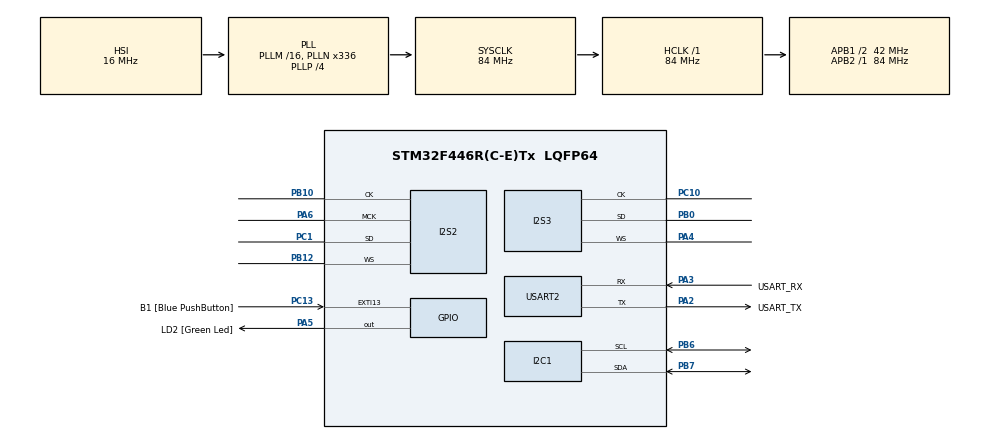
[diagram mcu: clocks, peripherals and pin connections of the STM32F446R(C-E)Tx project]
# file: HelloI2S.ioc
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Dma.Request0=SPI2_TX
Dma.Request1=SPI3_RX
Dma.SPI2_TX.0.Direction=DMA_MEMORY_TO_PERIPH
Dma.SPI2_TX.0.FIFOMode=DMA_FIFOMODE_DISABLE
Dma.SPI2_TX.0.Instance=DMA1_Stream4
Dma.SPI2_TX.0.MemDataAlignment=DMA_MDATAALIGN_HALFWORD
Dma.SPI2_TX.0.MemInc=DMA_MINC_ENABLE
Dma.SPI2_TX.0.Mode=DMA_CIRCULAR
Dma.SPI2_TX.0.PeriphDataAlignment=DMA_PDATAALIGN_HALFWORD
Dma.SPI2_TX.0.PeriphInc=DMA_PINC_DISABLE
Dma.SPI2_TX.0.Priority=DMA_PRIORITY_LOW
Dma.SPI3_RX.1.Direction=DMA_PERIPH_TO_MEMORY
Dma.SPI3_RX.1.FIFOMode=DMA_FIFOMODE_DISABLE
Dma.SPI3_RX.1.Instance=DMA1_Stream0
Dma.SPI3_RX.1.MemDataAlignment=DMA_MDATAALIGN_HALFWORD
Dma.SPI3_RX.1.MemInc=DMA_MINC_ENABLE
Dma.SPI3_RX.1.Mode=DMA_CIRCULAR
Dma.SPI3_RX.1.PeriphDataAlignment=DMA_PDATAALIGN_HALFWORD
Dma.SPI3_RX.1.PeriphInc=DMA_PINC_DISABLE
Dma.SPI3_RX.1.Priority=DMA_PRIORITY_LOW
I2S2.AudioFreq=I2S_AUDIOFREQ_48K
I2S2.DataFormat=I2S_DATAFORMAT_24B
I2S2.ErrorAudioFreq=-2.34 %
I2S2.FullDuplexMode=I2S_FULLDUPLEXMODE_DISABLE
I2S2.Instance=SPI$Index
I2S2.RealAudioFreq=46.875 KHz
I2S2.VirtualMode=I2S_MODE_MASTER
I2S3.AudioFreq=I2S_AUDIOFREQ_48K
I2S3.DataFormat=I2S_DATAFORMAT_24B
I2S3.ErrorAudioFreq=0.8 %
I2S3.FullDuplexMode=I2S_FULLDUPLEXMODE_DISABLE
I2S3.Instance=SPI$Index
I2S3.Mode=I2S_MODE_SLAVE_RX
I2S3.RealAudioFreq=48.387 KHz
I2S3.VirtualMode=I2S_MODE_SLAVE
Mcu.Family=STM32F4
Mcu.Name=STM32F446R(C-E)Tx
Mcu.Package=LQFP64
NVIC.DMA1_Stream0_IRQn=true\:0\:0\:false\:false\:true\:false\:true
NVIC.DMA1_Stream4_IRQn=true\:0\:0\:false\:false\:true\:false\:true
NVIC.PriorityGroup=NVIC_PRIORITYGROUP_0
PA13.GPIO_Label=TMS
PA13.Mode=Serial_Wire
PA13.Signal=SYS_JTMS-SWDIO
PA14.GPIO_Label=TCK
PA14.Mode=Serial_Wire
PA14.Signal=SYS_JTCK-SWCLK
PA2.GPIO_Label=USART_TX
PA2.Mode=Asynchronous
PA2.Signal=USART2_TX
PA3.GPIO_Label=USART_RX
PA3.Mode=Asynchronous
PA3.Signal=USART2_RX
PA4.Mode=Half_Duplex_Slave
PA4.Signal=I2S3_WS
PA5.GPIO_Label=LD2 [Green Led]
PA5.Signal=GPIO_Output
PA6.Mode=Master_Clock_Activated
PA6.Signal=I2S2_MCK
PB0.Mode=Half_Duplex_Slave
PB0.Signal=I2S3_SD
PB10.Mode=Half_Duplex_Master
PB10.Signal=I2S2_CK
PB12.Mode=Half_Duplex_Master
PB12.Signal=I2S2_WS
PB3.GPIO_Label=SWO
PB3.Signal=SYS_JTDO-SWO
PB6.Mode=I2C
PB6.Signal=I2C1_SCL
PB7.Mode=I2C
PB7.Signal=I2C1_SDA
PC1.Mode=Half_Duplex_Master
PC1.Signal=I2S2_SD
PC10.Mode=Half_Duplex_Slave
PC10.Signal=I2S3_CK
PC13.GPIO_Label=B1 [Blue PushButton]
PC13.GPIO_ModeDefaultEXTI=GPIO_MODE_IT_FALLING
PC13.Signal=GPXTI13
PC14-OSC32_IN.Mode=LSE-External-Oscillator
PC14-OSC32_IN.Signal=RCC_OSC32_IN
PC15-OSC32_OUT.Mode=LSE-External-Oscillator
PC15-OSC32_OUT.Signal=RCC_OSC32_OUT
PH0-OSC_IN.Mode=HSE-External-Oscillator
PH0-OSC_IN.Signal=RCC_OSC_IN
PH1-OSC_OUT.Mode=HSE-External-Oscillator
PH1-OSC_OUT.Signal=RCC_OSC_OUT
ProjectManager.HeapSize=0x200
ProjectManager.StackSize=0x400
ProjectManager.TargetToolchain=STM32CubeIDE
RCC.48MHZClocksFreq_Value=84000000
RCC.AHBFreq_Value=84000000
RCC.APB1CLKDivider=RCC_HCLK_DIV2
RCC.APB1Freq_Value=42000000
RCC.APB1TimFreq_Value=84000000
RCC.APB2Freq_Value=84000000
RCC.APB2TimFreq_Value=84000000
RCC.CortexFreq_Value=84000000
RCC.FLatency-AdvancedSettings=FLASH_LATENCY_2
RCC.HCLKFreq_Value=84000000
RCC.HSE_VALUE=8000000
RCC.HSI_VALUE=16000000
RCC.PLLN=336
RCC.PLLP=RCC_PLLP_DIV4
RCC.SYSCLKFreq_VALUE=84000000
RCC.SYSCLKSource=RCC_SYSCLKSOURCE_PLLCLK
RCC.USBFreq_Value=168000000
RCC.VCOOutputFreq_Value=336000000
USART2.VirtualMode=VM_ASYNC
board=NUCLEO-F446RE

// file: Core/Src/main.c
/* USER CODE BEGIN Header */
/**
 * A demo of the STM32 with an AK4556VT Codec.
 * LOUT is synthesized and fed back to LIN.  LIN is filtered and
 * output to ROUT in software.
 */
/* USER CODE END Header */
#include "main.h"

/* USER CODE BEGIN Includes */

#include <math.h>
#include <stdio.h>

#define ARM_MATH_CM4
#include "arm_math.h"
// This contains C++ initialization stuff
#include "Bridge.h"

/* USER CODE END Includes */

I2C_HandleTypeDef hi2c1;

I2S_HandleTypeDef hi2s2;
I2S_HandleTypeDef hi2s3;
DMA_HandleTypeDef hdma_spi2_tx;
DMA_HandleTypeDef hdma_spi3_rx;

UART_HandleTypeDef huart2;

void SystemClock_Config(void);
static void MX_GPIO_Init(void);
static void MX_DMA_Init(void);
static void MX_USART2_UART_Init(void);
static void MX_I2S2_Init(void);
static void MX_I2S3_Init(void);
static void MX_I2C1_Init(void);

/* USER CODE BEGIN 0 */

#define FILTER_TAP_NUM 63
#define FILTER_BLOCK_SIZE 16

static const int blockSize = FILTER_BLOCK_SIZE;

// This where the DMA happens.  We multiply by 8 to address:
// - The fact that we have left and right data moving through at the same time
// - Each sample takes up two 16-bit words
// - There is space for two blocks.  The DMA works on one block while
//   the other block is being processed, and then we flip to the other side.
//
static uint16_t out_data[FILTER_BLOCK_SIZE * 8];
static uint16_t in_data[FILTER_BLOCK_SIZE * 8];

// A circular data transfer queue loaded from the input DMA interrupt and read from
// the output DMA interrupt.  This queue contains signed and properly scaled values.
static const int queueSize = FILTER_BLOCK_SIZE * 2 + 1;
static int32_t queue[FILTER_BLOCK_SIZE * 2 + 1];
// Pointers for the queue
static int queue_write_ptr = 0;
static int queue_read_ptr = 0;

// Synthesizer
static float amp = 0x7fffff;
static const float fs = 46875;
static const int lut_size = 256;
static float lut[256];
// The number of steps through the synthesis LUT on each cycle
static unsigned int lutStep = 0;
// Current pointer in the LUT
static unsigned int lutPtr = 0;

// Hilbert 90 degrees
// Group delay = (N-1)/2
static float32_t filter_taps[FILTER_TAP_NUM] = {
		 0.001070961715267396,
		 0.000000000000000000,
		 0.001987297681546781,
		 0.000000000000000000,
		 0.003277140348238743,
		 0.000000000000000000,
		 0.005026608812473088,
		 0.000000000000000000,
		 0.007336472989491107,
		 0.000000000000000000,
		 0.010328747622538574,
		 0.000000000000000000,
		 0.014158643000578517,
		 0.000000000000000000,
		 0.019036297989385199,
		 0.000000000000000000,
		 0.025267333294581040,
		 0.000000000000000000,
		 0.033332265196353454,
		 0.000000000000000000,
		 0.044053841571440711,
		 0.000000000000000000,
		 0.058988457956177756,
		 0.000000000000000000,
		 0.081488921472100143,
		 0.000000000000000000,
		 0.120317023900123110,
		 0.000000000000000000,
		 0.207702895007325888,
		 0.000000000000000000,
		 0.634100255771075982,
		 0.000000000000000000,
		-0.634100255771075982,
		 0.000000000000000000,
		-0.207702895007325888,
		 0.000000000000000000,
		-0.120317023900123110,
		 0.000000000000000000,
		-0.081488921472100143,
		 0.000000000000000000,
		-0.058988457956177756,
		 0.000000000000000000,
		-0.044053841571440711,
		 0.000000000000000000,
		-0.033332265196353454,
		 0.000000000000000000,
		-0.025267333294581040,
		 0.000000000000000000,
		-0.019036297989385199,
		 0.000000000000000000,
		-0.014158643000578517,
		 0.000000000000000000,
		-0.010328747622538574,
		 0.000000000000000000,
		-0.007336472989491107,
		 0.000000000000000000,
		-0.005026608812473088,
		 0.000000000000000000,
		-0.003277140348238743,
		 0.000000000000000000,
		-0.001987297681546781,
		 0.000000000000000000,
		-0.001070961715267396
};

/*
static float32_t filter_taps[FILTER_TAP_NUM] = {
  		 0.0007693591723595714,
		 0.0008577056171934674,
		 0.000981644864435715,
		 0.0011402836666741497,
		 0.0013240716958050664,
		 0.0015141785640862,
		 0.0016824951784660432,
		 0.0017922988545831472,
		 0.001799581146358226,
		 0.0016549955234453964,
		 0.0013063413991485225,
		 0.0007014641068754816,
		 -0.00020858039764729672,
		 -0.0014662700307441203,
		 -0.003104457186467815,
		 -0.005143494624281382,
		 -0.007588826928590531,
		 -0.010429208075408961,
		 -0.01363567593417401,
		 -0.01716137640597337,
		 -0.020942285414827483,
		 -0.02489882859951619,
		 -0.028938349041523544,
		 -0.03295832555942324,
		 -0.03685020078936992,
		 -0.0405036420149939,
		 -0.04381103068466763,
		 -0.046671960421076554,
		 -0.04899751913018745,
		 -0.05071413891252709,
		 -0.05176681751743772,
		 0.9486121374855334,
		 -0.05176681751743772,
		 -0.05071413891252709,
		 -0.04899751913018745,
		 -0.046671960421076554,
		 -0.04381103068466763,
		 -0.0405036420149939,
		 -0.03685020078936992,
		 -0.03295832555942324,
		 -0.028938349041523537,
		 -0.02489882859951619,
		 -0.020942285414827476,
		 -0.017161376405973375,
		 -0.013635675934174009,
		 -0.010429208075408961,
		 -0.007588826928590529,
		 -0.005143494624281382,
		 -0.003104457186467814,
		 -0.0014662700307441208,
		 -0.00020858039764729667,
		 0.0007014641068754816,
		 0.0013063413991485225,
		 0.0016549955234453975,
		 0.001799581146358226,
		 0.0017922988545831487,
		 0.0016824951784660432,
		 0.0015141785640862006,
		 0.0013240716958050664,
		 0.0011402836666741503,
		 0.000981644864435715,
		 0.0008577056171934679,
		 0.0007693591723595714
};
*/
static float32_t filter_state[FILTER_TAP_NUM + FILTER_BLOCK_SIZE - 1];
static arm_fir_instance_f32 filter_lp_0;

static const uint16_t fft_size = 256;
static arm_rfft_fast_instance_f32 rfft;
static float32_t fft_input[256];
static int fft_input_ptr = 0;
//static uint32_t last_time = 0;
static float32_t balance = 0.94;
static float32_t gain = 0.75;

// Delay line that is equivalent in length to the group delay of the filter
#define DELAY_TAP_NUM 63
static float32_t delayBuffer[(DELAY_TAP_NUM - 1) / 2];
static int delaySize = (DELAY_TAP_NUM - 1) / 2;
static int delayPtr = 0;

static int fix(int ptr) {
	return ptr % delaySize;
}

static void writeDelay(const float32_t* d, int size) {
	for (int i = 0; i < size; i++) {
		delayBuffer[delayPtr] = d[i];
		delayPtr = fix(delayPtr + 1);
	}
}

static void readDelay(float32_t* d, int size) {
	for (int i = 0; i < size; i++) {
		d[i] = delayBuffer[fix(delayPtr + i)];
	}
}

/*
// For debugging/timing
static uint32_t cycles(void)
{
	return DWT->CYCCNT;
}
*/
static void setSynthFreq(float freqHz) {
	float phasePerSample = (freqHz / fs) * 2.0 * 3.14159;
	lutStep = (phasePerSample / (2.0 * 3.1415926)) * lut_size;
}

// This writes half of the outbound data into the DMA buffer.  This is
// called by the DMA interrupt at the half-way point through the
// entire DMA buffer.
static void moveOut2(int base) {

	int32_t ci;
	uint16_t hi = 0;
	uint16_t lo = 0;

	int out_ptr = base;
	float32_t filterIn[FILTER_BLOCK_SIZE];
	float32_t filterOut[FILTER_BLOCK_SIZE];
	float32_t delayOut[FILTER_BLOCK_SIZE];

	// Apply the filter to the block of data that we have read most recently
	for (int i = 0; i < blockSize; i++) {
		// Move the sampled data into the arrays that will be processed by
		// the DSP functions.  This is a case from a signed integer to
		// a float32.
		filterIn[i] = queue[queue_read_ptr++];
		// Look for the wrap
		if (queue_read_ptr == queueSize) {
			queue_read_ptr = 0;
		}
	}
	// MEASUREMENT: This takes about 4,000 cycles.
	arm_fir_f32(&filter_lp_0, filterIn, filterOut, blockSize);

	// Move data out of the circular buffer (lagged)
	readDelay(delayOut, blockSize);
	// Move data into the circular buffer
	writeDelay(filterIn, blockSize);

	// Generate the output signals
	for (int i = 0; i < blockSize; i++) {

		// LEFT CHANNEL
		// Generate synth data by stepping through the cosine table
		// This handles the wrapping of the LUT pointer:
		lutPtr = (lutPtr + lutStep) & 0xff;
		ci = amp * lut[lutPtr];
		hi = ci >> 8;
		lo = (ci & 0x000000ff) << 8;
		// Synth data on left channel
		out_data[out_ptr++] = hi;
		out_data[out_ptr++] = lo;

		// RIGHT CHANNEL
		// Output filtered data (signed)
		//ci = filterOut[i];
		//ci = delayOut[i];
		ci = amp * lut[lutPtr];
		hi = ci >> 8;
		lo = (ci & 0x000000ff) << 8;
		out_data[out_ptr++] = hi;
		out_data[out_ptr++] = lo;
	}
}

static void moveOut(int base) {

	int32_t ci;
	uint16_t hi = 0;
	uint16_t lo = 0;

	int out_ptr = base;
	float32_t filterIn[FILTER_BLOCK_SIZE];
	float32_t filterOut[FILTER_BLOCK_SIZE];
	float32_t delayOut[FILTER_BLOCK_SIZE];

	// Take the synthesized cosine and load it into the filter input area
	for (int i = 0; i < blockSize; i++) {
		/*
		// Generate synth data by stepping through the cosine table
		// This handles the wrapping of the LUT pointer:
		lutPtr = (lutPtr + lutStep) & 0xff;
		filterIn[i] = amp * lut[lutPtr] * gain;
		*/
		// Move the sampled data into the arrays that will be processed by
		// the DSP functions.  This is a case from a signed integer to
		// a float32.
		filterIn[i] = queue[queue_read_ptr++];
		// Look for the wrap
		if (queue_read_ptr == queueSize) {
			queue_read_ptr = 0;
		}
	}

	// Apply the filter
	// MEASUREMENT: This takes about 4,000 cycles.
	arm_fir_f32(&filter_lp_0, filterIn, filterOut, blockSize);

	// Move data out of the circular buffer (lagged)
	readDelay(delayOut, blockSize);
	// Move data into the circular buffer to keep things flowing
	writeDelay(filterIn, blockSize);

	// Generate the output signals
	for (int i = 0; i < blockSize; i++) {
		// LEFT CHANNEL - Output of FIR filter
		ci = filterOut[i] * balance;
		hi = ci >> 8;
		lo = (ci & 0x000000ff) << 8;
		out_data[out_ptr++] = hi;
		out_data[out_ptr++] = lo;
		// RIGHT CHANNEL - Output of delay line to maintain the phase relationship
		ci = (delayOut[i]);
		hi = ci >> 8;
		lo = (ci & 0x000000ff) << 8;
		out_data[out_ptr++] = hi;
		out_data[out_ptr++] = lo;
	}
}

// This read half of the inbound data from the DMA buffer.  This is
// called by the DMA interrupt at the half-way point through the
// entire DMA buffer.
static void moveIn(int base) {

	int in_ptr = base;

	for (int i = 0; i < blockSize; i++) {
		// Read the left channel into the receive queue.
		// Load the high end of the sample into the high end of the 32-bit number
		int32_t sample = (in_data[in_ptr++] << 16);
		// Preserve sign while adjusting magnitude down from 32 bits to 24 bits
		sample = sample >> 8;
		// Shift down the low end of the sample and mask off
		sample |= (in_data[in_ptr++] >> 8) & 0xff;
		// Queue the sample for processing
		queue[queue_write_ptr++] = sample;
		// Look for the wrap
		if (queue_write_ptr == queueSize) {
			queue_write_ptr = 0;
		}
		// FFT sample buffer
		fft_input[fft_input_ptr++] = sample;
		if (fft_input_ptr == fft_size) {
			fft_input_ptr = 0;
		}
		// Ignore the right channel input
		in_ptr++;
		in_ptr++;
	}
}

// Called at the half-way point.  Fills in the first half of the DMA area.
void HAL_I2S_TxHalfCpltCallback (I2S_HandleTypeDef * hi2s) {
	moveOut(0);
}

// Called at the end point.  Fills in the second half of the DMA area.
void HAL_I2S_TxCpltCallback (I2S_HandleTypeDef * hi2s) {
	moveOut(blockSize * 4);
}

// Called at the half-way point.  Fills in the first half of the DMA area.
void HAL_I2S_RxHalfCpltCallback (I2S_HandleTypeDef * hi2s) {
	moveIn(0);
}

// Called at the end point.  Fills in the second half of the DMA area.
void HAL_I2S_RxCpltCallback (I2S_HandleTypeDef * hi2s) {
	moveIn(blockSize * 4);
}

int _write(int file, char* ptr, int len) {
	for (int i = 0; i < len; i++)
		ITM_SendChar((*ptr++));
	return len;
}

/* USER CODE END 0 */

int main(void)
{
  /* USER CODE BEGIN 1 */
	int count = 0;

  /* USER CODE END 1 */

  /* MCU Configuration--------------------------------------------------------*/

  /* Reset of all peripherals, Initializes the Flash interface and the Systick. */
  HAL_Init();

  /* Configure the system clock */
  SystemClock_Config();

  /* Initialize all configured peripherals */
  MX_GPIO_Init();
  MX_DMA_Init();
  MX_USART2_UART_Init();
  MX_I2S2_Init();
  MX_I2S3_Init();
  MX_I2C1_Init();
  /* USER CODE BEGIN 2 */

  Bridge_setup();
  printf("Hello World\n");

  // Enable cycle counting
  //CoreDebug->DEMCR |= CoreDebug_DEMCR_TRCENA_Msk;
  //DWT->CYCCNT = 0;
  //DWT->CTRL |= DWT_CTRL_CYCCNTENA_Msk;

  // Initialize the filter
  arm_fir_init_f32(&filter_lp_0, FILTER_TAP_NUM, filter_taps, filter_state, FILTER_BLOCK_SIZE);
  // Initialize FFT
  arm_rfft_fast_init_f32(&rfft, fft_size);

  // Initialize DMA
  HAL_I2S_Transmit_DMA(&hi2s2, out_data, blockSize * 4);
  HAL_I2S_Receive_DMA(&hi2s3, in_data, blockSize * 4);

	// Populate synthesizer LUT
	for (int i = 0; i < lut_size; i++) {
		float t = (float)i / (float)lut_size;
		float a = t * 2.0 * 3.1315926;
		lut[i] = cos(a);
	}

	setSynthFreq(10500);

  /* USER CODE END 2 */

  /* Infinite loop */
  /* USER CODE BEGIN WHILE */
	while (1)
	{
		Bridge_loop();
	  //HAL_Delay(100);
	  //HAL_I2S_Transmit(&hi2s2, data, 2, 100);

	  // Alternate between frequencies
	  //HAL_Delay(150);
	  //setSynthFreq(1500);
	  //HAL_Delay(150);
	  //setSynthFreq(4000);
	  count++;
	  /*
		float32_t fft_max = 0;
		int fft_max_ptr = 0;
		float32_t fft_out[256];
		// MEASUREMENT: This takes about 26,000 cycles
		arm_rfft_fast_f32(&rfft, fft_input, fft_out, 0);
		// Look for the largest bin
		for (int j = 0; j < 256; j++) {
			if (fabsf(fft_out[j]) > fft_max) {
				fft_max = fabsf(fft_out[j]);
				fft_max_ptr = j;
			}
		}
		printf("FFT %d mag %f idx %d el %lu\n", count, fft_max, fft_max_ptr, last_time);
		*/

    /* USER CODE END WHILE */

	}
}

void SystemClock_Config(void)
{
  RCC_OscInitTypeDef RCC_OscInitStruct = {0};
  RCC_ClkInitTypeDef RCC_ClkInitStruct = {0};
  RCC_PeriphCLKInitTypeDef PeriphClkInitStruct = {0};

  /** Configure the main internal regulator output voltage
  */
  __HAL_RCC_PWR_CLK_ENABLE();
  __HAL_PWR_VOLTAGESCALING_CONFIG(PWR_REGULATOR_VOLTAGE_SCALE3);
  /** Initializes the RCC Oscillators according to the specified parameters
  * in the RCC_OscInitTypeDef structure.
  */
  RCC_OscInitStruct.OscillatorType = RCC_OSCILLATORTYPE_HSI;
  RCC_OscInitStruct.HSIState = RCC_HSI_ON;
  RCC_OscInitStruct.HSICalibrationValue = RCC_HSICALIBRATION_DEFAULT;
  RCC_OscInitStruct.PLL.PLLState = RCC_PLL_ON;
  RCC_OscInitStruct.PLL.PLLSource = RCC_PLLSOURCE_HSI;
  RCC_OscInitStruct.PLL.PLLM = 16;
  RCC_OscInitStruct.PLL.PLLN = 336;
  RCC_OscInitStruct.PLL.PLLP = RCC_PLLP_DIV4;
  RCC_OscInitStruct.PLL.PLLQ = 2;
  RCC_OscInitStruct.PLL.PLLR = 2;
  if (HAL_RCC_OscConfig(&RCC_OscInitStruct) != HAL_OK)
  {
    Error_Handler();
  }
  /** Initializes the CPU, AHB and APB buses clocks
  */
  RCC_ClkInitStruct.ClockType = RCC_CLOCKTYPE_HCLK|RCC_CLOCKTYPE_SYSCLK
                              |RCC_CLOCKTYPE_PCLK1|RCC_CLOCKTYPE_PCLK2;
  RCC_ClkInitStruct.SYSCLKSource = RCC_SYSCLKSOURCE_PLLCLK;
  RCC_ClkInitStruct.AHBCLKDivider = RCC_SYSCLK_DIV1;
  RCC_ClkInitStruct.APB1CLKDivider = RCC_HCLK_DIV2;
  RCC_ClkInitStruct.APB2CLKDivider = RCC_HCLK_DIV1;

  if (HAL_RCC_ClockConfig(&RCC_ClkInitStruct, FLASH_LATENCY_2) != HAL_OK)
  {
    Error_Handler();
  }
  PeriphClkInitStruct.PeriphClockSelection = RCC_PERIPHCLK_I2S_APB1;
  PeriphClkInitStruct.PLLI2S.PLLI2SN = 192;
  PeriphClkInitStruct.PLLI2S.PLLI2SP = RCC_PLLI2SP_DIV2;
  PeriphClkInitStruct.PLLI2S.PLLI2SM = 16;
  PeriphClkInitStruct.PLLI2S.PLLI2SR = 2;
  PeriphClkInitStruct.PLLI2S.PLLI2SQ = 2;
  PeriphClkInitStruct.PLLI2SDivQ = 1;
  PeriphClkInitStruct.I2sApb1ClockSelection = RCC_I2SAPB1CLKSOURCE_PLLI2S;
  if (HAL_RCCEx_PeriphCLKConfig(&PeriphClkInitStruct) != HAL_OK)
  {
    Error_Handler();
  }
}

static void MX_I2C1_Init(void)
{

  hi2c1.Instance = I2C1;
  hi2c1.Init.ClockSpeed = 100000;
  hi2c1.Init.DutyCycle = I2C_DUTYCYCLE_2;
  hi2c1.Init.OwnAddress1 = 0;
  hi2c1.Init.AddressingMode = I2C_ADDRESSINGMODE_7BIT;
  hi2c1.Init.DualAddressMode = I2C_DUALADDRESS_DISABLE;
  hi2c1.Init.OwnAddress2 = 0;
  hi2c1.Init.GeneralCallMode = I2C_GENERALCALL_DISABLE;
  hi2c1.Init.NoStretchMode = I2C_NOSTRETCH_DISABLE;
  if (HAL_I2C_Init(&hi2c1) != HAL_OK)
  {
    Error_Handler();
  }

}

static void MX_I2S2_Init(void)
{

  hi2s2.Instance = SPI2;
  hi2s2.Init.Mode = I2S_MODE_MASTER_TX;
  hi2s2.Init.Standard = I2S_STANDARD_PHILIPS;
  hi2s2.Init.DataFormat = I2S_DATAFORMAT_24B;
  hi2s2.Init.MCLKOutput = I2S_MCLKOUTPUT_ENABLE;
  hi2s2.Init.AudioFreq = I2S_AUDIOFREQ_48K;
  hi2s2.Init.CPOL = I2S_CPOL_LOW;
  hi2s2.Init.ClockSource = I2S_CLOCK_PLL;
  hi2s2.Init.FullDuplexMode = I2S_FULLDUPLEXMODE_DISABLE;
  if (HAL_I2S_Init(&hi2s2) != HAL_OK)
  {
    Error_Handler();
  }

}

static void MX_I2S3_Init(void)
{

  hi2s3.Instance = SPI3;
  hi2s3.Init.Mode = I2S_MODE_SLAVE_RX;
  hi2s3.Init.Standard = I2S_STANDARD_PHILIPS;
  hi2s3.Init.DataFormat = I2S_DATAFORMAT_24B;
  hi2s3.Init.MCLKOutput = I2S_MCLKOUTPUT_DISABLE;
  hi2s3.Init.AudioFreq = I2S_AUDIOFREQ_48K;
  hi2s3.Init.CPOL = I2S_CPOL_LOW;
  hi2s3.Init.ClockSource = I2S_CLOCK_PLL;
  hi2s3.Init.FullDuplexMode = I2S_FULLDUPLEXMODE_DISABLE;
  if (HAL_I2S_Init(&hi2s3) != HAL_OK)
  {
    Error_Handler();
  }

}

static void MX_USART2_UART_Init(void)
{

  huart2.Instance = USART2;
  huart2.Init.BaudRate = 115200;
  huart2.Init.WordLength = UART_WORDLENGTH_8B;
  huart2.Init.StopBits = UART_STOPBITS_1;
  huart2.Init.Parity = UART_PARITY_NONE;
  huart2.Init.Mode = UART_MODE_TX_RX;
  huart2.Init.HwFlowCtl = UART_HWCONTROL_NONE;
  huart2.Init.OverSampling = UART_OVERSAMPLING_16;
  if (HAL_UART_Init(&huart2) != HAL_OK)
  {
    Error_Handler();
  }

}

static void MX_DMA_Init(void)
{

  /* DMA controller clock enable */
  __HAL_RCC_DMA1_CLK_ENABLE();

  /* DMA interrupt init */
  /* DMA1_Stream0_IRQn interrupt configuration */
  HAL_NVIC_SetPriority(DMA1_Stream0_IRQn, 0, 0);
  HAL_NVIC_EnableIRQ(DMA1_Stream0_IRQn);
  /* DMA1_Stream4_IRQn interrupt configuration */
  HAL_NVIC_SetPriority(DMA1_Stream4_IRQn, 0, 0);
  HAL_NVIC_EnableIRQ(DMA1_Stream4_IRQn);

}

static void MX_GPIO_Init(void)
{
  GPIO_InitTypeDef GPIO_InitStruct = {0};

  /* GPIO Ports Clock Enable */
  __HAL_RCC_GPIOC_CLK_ENABLE();
  __HAL_RCC_GPIOH_CLK_ENABLE();
  __HAL_RCC_GPIOA_CLK_ENABLE();
  __HAL_RCC_GPIOB_CLK_ENABLE();

  /*Configure GPIO pin Output Level */
  HAL_GPIO_WritePin(LD2_GPIO_Port, LD2_Pin, GPIO_PIN_RESET);

  /*Configure GPIO pin : B1_Pin */
  GPIO_InitStruct.Pin = B1_Pin;
  GPIO_InitStruct.Mode = GPIO_MODE_IT_FALLING;
  GPIO_InitStruct.Pull = GPIO_NOPULL;
  HAL_GPIO_Init(B1_GPIO_Port, &GPIO_InitStruct);

  /*Configure GPIO pin : LD2_Pin */
  GPIO_InitStruct.Pin = LD2_Pin;
  GPIO_InitStruct.Mode = GPIO_MODE_OUTPUT_PP;
  GPIO_InitStruct.Pull = GPIO_NOPULL;
  GPIO_InitStruct.Speed = GPIO_SPEED_FREQ_LOW;
  HAL_GPIO_Init(LD2_GPIO_Port, &GPIO_InitStruct);

}

void Error_Handler(void)
{
}

/************************ (C) COPYRIGHT STMicroelectronics *****END OF FILE****/
